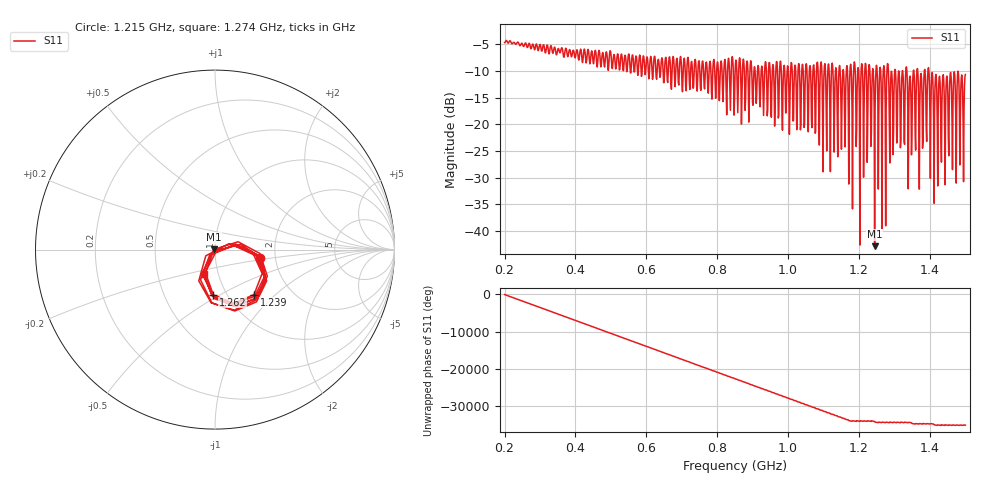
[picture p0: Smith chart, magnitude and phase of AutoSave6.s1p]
!Agilent N9923A: A.05.17
!Date: Sunday, 01 January 2006 12:28:38
!Model: N9923A
!Serial: MY50371189
!CHECKSUM:0036679561
!Correction: S11(ON U)
!S1P File: Measurement: S11:
# Hz S RI R 50
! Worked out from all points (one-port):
!   1001 points, 200 MHz to 1.5 GHz, reference 50 ohm
!   lowest |S11| = -42.9 dB at 1.244 GHz (marker M1), VSWR 1.01, Z = 49.3 + j0.0961 ohm
!   |S11| at or under -10 dB: 1.283 GHz to 1.301 GHz (17.98 MHz wide, 1.39 % of centre); 1.303 GHz to 1.322 GHz (19.49 MHz wide, 1.49 % of centre); 1.397 GHz to end of sweep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
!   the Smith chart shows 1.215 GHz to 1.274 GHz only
!   S11 on the Smith chart (normalised r, x): 1.215 GHz: 1.65, -0.16; 1.239 GHz: 1.32, -0.74; 1.262 GHz: 0.87, -0.46; 1.274 GHz: 0.86, -0.24
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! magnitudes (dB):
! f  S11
! 200 MHz  -4.7
! 362.5 MHz  -5.8
! 525 MHz  -9.7
! 687.5 MHz  -8.3
! 850 MHz  -10.8
! 1.012 GHz  -12.9
! 1.171 GHz  -31.2
! 1.175 GHz  -9.3
! 1.192 GHz  -24.2
! 1.197 GHz  -9.4
! 1.208 GHz  -8.7
! 1.215 GHz  -11.9
! 1.235 GHz  -21.6
! 1.239 GHz  -9.6
! 1.244 GHz  -42.9
! 1.249 GHz  -9.0
! 1.262 GHz  -12.0
! 1.27 GHz  -9.0
! 1.274 GHz  -16.6
! 1.337 GHz  -17.0
! 1.375 GHz  -10.5
! 1.391 GHz  -23.2
! 1.417 GHz  -10.7
! 1.422 GHz  -31.6
! 1.448 GHz  -11.0
! 1.484 GHz  -27.6
! 1.49 GHz  -10.8
! 1.5 GHz  -10.7
